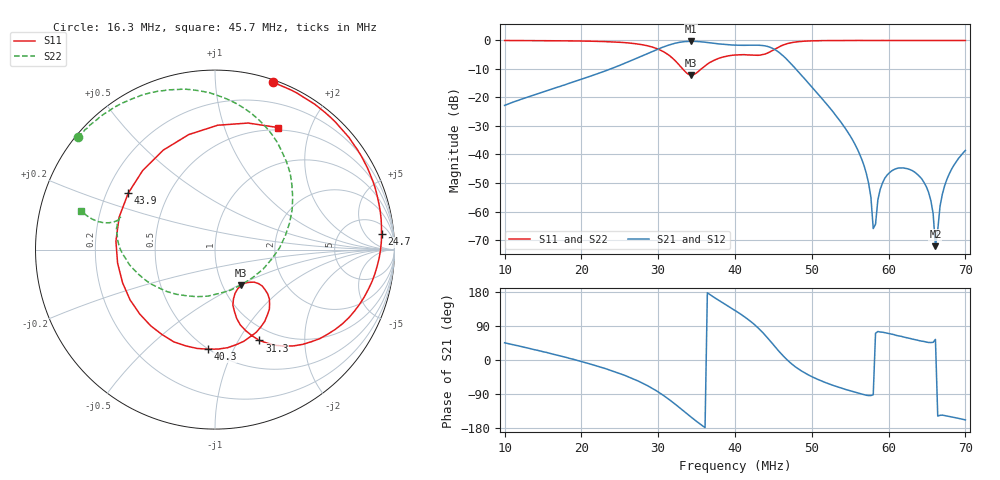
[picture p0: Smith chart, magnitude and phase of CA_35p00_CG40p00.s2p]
#  HZ  S  RI  R  50.00
! Rohde & Schwarz ZVT8 8Ports - Version 4.11 - 1300.0000k08 SN: 100242
! Date: 2026-07-31 14:43:27
! Measurements: S11 S21 S12 S22
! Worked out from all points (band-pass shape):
!   201 points, 10 MHz to 70 MHz, reference 50 ohm
!   highest |S21| = -0.32 dB at 34.3 MHz (marker M1); lowest = -72.2 dB at 66.1 MHz (marker M2)
!   |S21| within 3 dB of the highest: 29.73 MHz to 45.25 MHz (15.52 MHz wide, 41.4 % of centre)
!   lowest |S11| = -12.1 dB at 34.3 MHz (marker M3), VSWR 1.66, Z = 61 - j25.9 ohm
!   |S11| at or under -10 dB: 33.18 MHz to 35.61 MHz (2.425 MHz wide, 7.05 % of centre)
!   |S22| runs from -12.3 to 0.0 dB; largest |S21 - S12| = 0.003
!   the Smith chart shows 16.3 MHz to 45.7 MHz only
!   S11 on the Smith chart (normalised r, x): 16.3 MHz: 0.02, +1.41; 24.7 MHz: 10, +14; 31.3 MHz: 0.83, -1.23; 40.3 MHz: 0.50, -0.80; 43.9 MHz: 0.29, +0.27; 45.7 MHz: 0.47, +1.54
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1e7  -0.4075 0.909  0.0509 0.0517  0.0508 0.0517  -0.9189 0.3855
1.63e7  0.3255 0.9311  0.1376 0.0379  0.1371 0.0382  -0.7645 0.625
2.02e7  0.7214 0.6533  0.2116 -0.0187  0.2109 -0.0186  -0.6021 0.7649
2.47e7  0.9277 0.0861  0.2939 -0.1957  0.2937 -0.1936  -0.2899 0.8854
3.01e7  0.44 -0.5362  0.0554 -0.7133  0.0561 -0.7135  0.3463 0.599
3.13e7  0.2472 -0.5061  -0.1771 -0.8021  -0.1758 -0.8025  0.4287 0.3577
3.43e7  0.1455 -0.1995  -0.8425 -0.469  -0.8419 -0.4684  0.0892 -0.2253
4e7  0.0176 -0.5542  -0.5396 0.6257  -0.5389 0.6255  -0.5475 0.0977
4.03e7  -0.0408 -0.5548  -0.496 0.6592  -0.4939 0.6582  -0.5492 0.1165
4.39e7  -0.4836 0.3142  0.3239 0.7335  0.326 0.7315  -0.569 0.1526
4.57e7  0.3532 0.6797  0.5706 0.2479  0.569 0.2472  -0.7471 0.2178
4.75e7  0.9193 0.0536  0.356 -0.0772  0.3555 -0.0774  -0.8132 0.4454
5.02e7  0.6579 -0.7322  0.0992 -0.1022  0.0995 -0.1019  -0.7035 0.6913
5.62e7  -0.3719 -0.925  0.000348 -0.0104  0.000324 -0.0104  -0.4005 0.913
5.74e7  -0.5268 -0.8472  -0.000207 -0.00311  -0.00023 -0.00311  -0.3429 0.9356
5.8e7  -0.5959 -0.7994  -1.42e-05 -0.000502  -5.46e-06 -0.000532  -0.3153 0.9463
6.01e7  -0.7948 -0.6  0.00164 0.00448  0.00167 0.00447  -0.2201 0.9722
6.46e7  -0.9939 -0.0735  0.00214 0.00246  0.00215 0.00244  -0.022 0.9962
6.55e7  -0.996 0.0351  0.00108 0.00113  0.00109 0.00111  0.0167 0.9961
6.61e7  -0.9896 0.1089  0.000144 0.000201  0.000151 0.000205  0.044 0.9956
6.73e7  -0.9639 0.2515  -0.00238 -0.00157  -0.00236 -0.00156  0.0944 0.9932
7e7  -0.8339 0.5455  -0.0109 -0.0044  -0.0109 -0.00437  0.2076 0.9753
